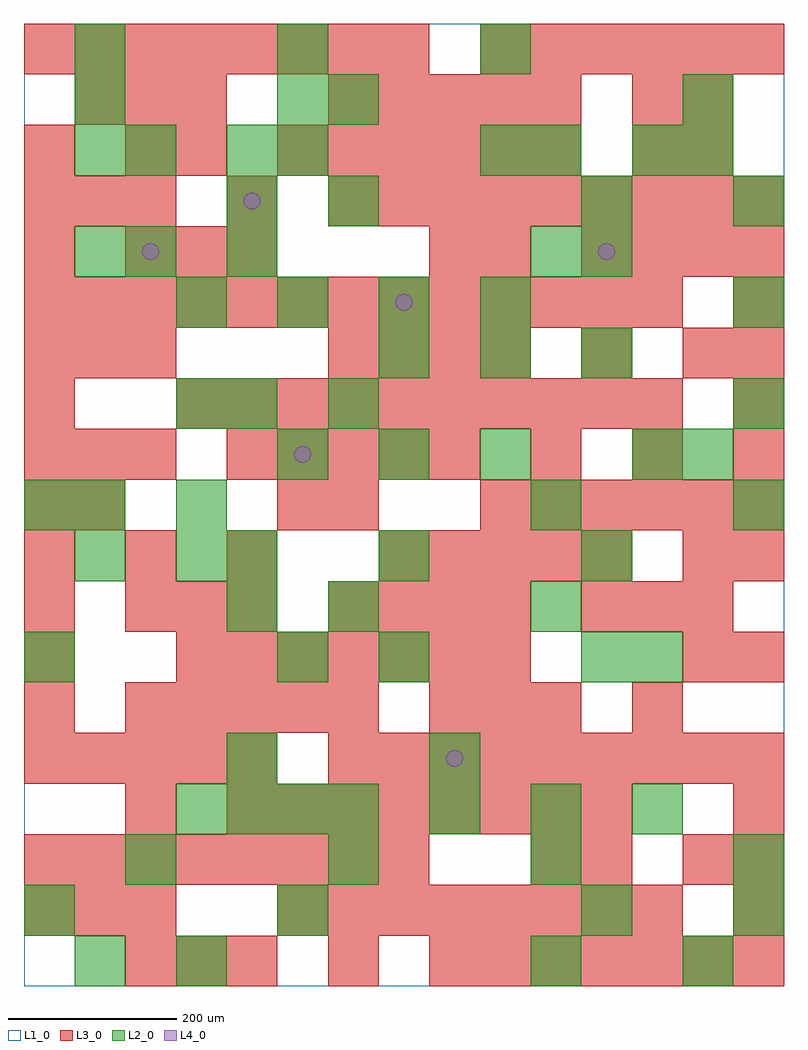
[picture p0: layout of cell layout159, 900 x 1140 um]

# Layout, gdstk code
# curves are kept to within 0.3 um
import gdstk
lib = gdstk.Library(unit=1e-6, precision=1e-09)
def R(c, l, rs):  # rectangles x0, y0, x1, y1
    for r in rs: c.add(gdstk.rectangle(r[:2], r[2:], *l))
def A(c, l, x, y, w, h, nx, ny, dx, dy):  # array of equal rectangles
    R(c, l, [(x+i*dx, y+j*dy, x+i*dx+w, y+j*dy+h) for i in range(nx) for j in range(ny)])
def P(c, l, *ps):  # polygons
    for p in ps: c.add(gdstk.Polygon(p, *l))
L1_0 = (1, 0)
L2_0 = (2, 0)
L3_0 = (3, 0)
L4_0 = (4, 0)

layout159 = lib.new_cell('layout159')
R(layout159, L1_0, [(0,0,900,1140)])
A(layout159, L2_0, 120, 120, 60, 60, 4, 1, 240, 0)
A(layout159, L2_0, 180, 180, 60, 60, 4, 1, 60, 0)
A(layout159, L2_0, 480, 180, 60, 60, 3, 1, 120, 0)
A(layout159, L2_0, 360, 420, 60, 60, 1, 3, 0, 240)
A(layout159, L2_0, 240, 480, 60, 60, 1, 3, 0, 180)
A(layout159, L2_0, 840, 540, 60, 60, 1, 4, 0, 120)
A(layout159, L2_0, 300, 600, 60, 60, 3, 1, 120, 0)
A(layout159, L2_0, 420, 720, 60, 60, 3, 1, 120, 0)
A(layout159, L2_0, 180, 780, 60, 60, 4, 1, 120, 0)
A(layout159, L2_0, 60, 1080, 60, 60, 3, 1, 240, 0)
R(layout159, L2_0, [(60,0,120,60), (180,0,240,60), (600,0,660,60), (780,0,840,60), (0,60,60,120), (300,60,360,120), (660,60,720,120), (840,60,900,120), (240,240,300,300), (480,240,540,300), (0,360,60,420), (300,360,360,420), (420,360,480,420), (660,360,720,420), (720,360,780,420), (240,420,300,480), (600,420,660,480), (60,480,120,540), (180,480,240,540), (420,480,480,540), (660,480,720,540), (0,540,60,600), (60,540,120,600), (180,540,240,600), (600,540,660,600), (720,600,780,660), (780,600,840,660), (180,660,240,720), (60,840,120,900), (120,840,180,900), (600,840,660,900), (660,840,720,900), (240,900,300,960), (660,900,720,960), (60,960,120,1020), (120,960,180,1020), (240,960,300,1020), (300,960,360,1020), (540,960,600,1020), (600,960,660,1020), (720,960,780,1020), (780,960,840,1020), (60,1020,120,1080), (300,1020,360,1080), (360,1020,420,1080), (780,1020,840,1080)])
A(layout159, L3_0, 120, 0, 60, 60, 3, 3, 60, 420)
A(layout159, L3_0, 480, 0, 60, 60, 7, 1, 60, 0)
A(layout159, L3_0, 0, 60, 60, 60, 3, 2, 60, 540)
A(layout159, L3_0, 300, 60, 60, 60, 8, 1, 60, 0)
A(layout159, L3_0, 840, 60, 60, 60, 1, 3, 0, 60)
A(layout159, L3_0, 0, 120, 60, 60, 8, 2, 60, 960)
A(layout159, L3_0, 240, 180, 60, 60, 8, 1, 60, 0)
A(layout159, L3_0, 0, 240, 60, 60, 5, 1, 60, 0)
A(layout159, L3_0, 360, 240, 60, 60, 9, 2, 60, 660)
A(layout159, L3_0, 0, 300, 60, 60, 1, 3, 0, 60)
A(layout159, L3_0, 120, 300, 60, 60, 5, 1, 60, 0)
A(layout159, L3_0, 480, 300, 60, 60, 3, 1, 60, 0)
A(layout159, L3_0, 180, 360, 60, 60, 7, 1, 60, 0)
A(layout159, L3_0, 360, 420, 60, 60, 4, 2, 60, 300)
A(layout159, L3_0, 660, 420, 60, 60, 3, 1, 60, 0)
A(layout159, L3_0, 0, 480, 60, 60, 3, 1, 120, 0)
A(layout159, L3_0, 420, 480, 60, 60, 5, 1, 60, 0)
A(layout159, L3_0, 780, 480, 60, 60, 1, 3, 0, 240)
A(layout159, L3_0, 540, 540, 60, 60, 6, 2, 60, 540)
A(layout159, L3_0, 240, 600, 60, 60, 5, 1, 60, 0)
A(layout159, L3_0, 600, 600, 60, 60, 3, 1, 120, 0)
A(layout159, L3_0, 180, 660, 60, 60, 10, 1, 60, 0)
A(layout159, L3_0, 840, 660, 60, 60, 1, 3, 0, 60)
A(layout159, L3_0, 0, 720, 60, 60, 3, 2, 60, 180)
A(layout159, L3_0, 0, 780, 60, 60, 13, 1, 60, 0)
A(layout159, L3_0, 660, 840, 60, 60, 4, 1, 60, 0)
A(layout159, L3_0, 300, 960, 60, 60, 6, 1, 60, 0)
A(layout159, L3_0, 60, 1020, 60, 60, 3, 1, 60, 0)
A(layout159, L3_0, 360, 1020, 60, 60, 5, 1, 60, 0)
R(layout159, L3_0, [(360,0,420,60), (600,120,660,180), (660,120,720,180), (780,120,840,180), (120,180,180,240), (720,300,780,360), (780,360,840,420), (840,360,900,420), (840,480,900,540), (0,540,60,600), (60,540,120,600), (300,540,360,600), (360,540,420,600), (0,660,60,720), (660,720,720,780), (0,840,60,900), (480,840,540,900), (540,840,600,900), (240,900,300,960), (0,960,60,1020), (120,960,180,1020), (180,960,240,1020), (720,960,780,1020), (720,1020,780,1080), (780,1020,840,1080)])
P(layout159, L4_0, [(160,870),(159.239,873.827),(157.071,877.071),(153.827,879.239),(150,880),(146.173,879.239),(142.929,877.071),(140.761,873.827),(140,870),(140.761,866.173),(142.929,862.929),(146.173,860.761),(150,860),(153.827,860.761),(157.071,862.929),(159.239,866.173)],
  [(280,930),(279.239,933.827),(277.071,937.071),(273.827,939.239),(270,940),(266.173,939.239),(262.929,937.071),(260.761,933.827),(260,930),(260.761,926.173),(262.929,922.929),(266.173,920.761),(270,920),(273.827,920.761),(277.071,922.929),(279.239,926.173)],
  [(340,630),(339.239,633.827),(337.071,637.071),(333.827,639.239),(330,640),(326.173,639.239),(322.929,637.071),(320.761,633.827),(320,630),(320.761,626.173),(322.929,622.929),(326.173,620.761),(330,620),(333.827,620.761),(337.071,622.929),(339.239,626.173)],
  [(460,810),(459.239,813.827),(457.071,817.071),(453.827,819.239),(450,820),(446.173,819.239),(442.929,817.071),(440.761,813.827),(440,810),(440.761,806.173),(442.929,802.929),(446.173,800.761),(450,800),(453.827,800.761),(457.071,802.929),(459.239,806.173)],
  [(520,270),(519.239,273.827),(517.071,277.071),(513.827,279.239),(510,280),(506.173,279.239),(502.929,277.071),(500.761,273.827),(500,270),(500.761,266.173),(502.929,262.929),(506.173,260.761),(510,260),(513.827,260.761),(517.071,262.929),(519.239,266.173)],
  [(700,870),(699.239,873.827),(697.071,877.071),(693.827,879.239),(690,880),(686.173,879.239),(682.929,877.071),(680.761,873.827),(680,870),(680.761,866.173),(682.929,862.929),(686.173,860.761),(690,860),(693.827,860.761),(697.071,862.929),(699.239,866.173)])

lib.write_gds('layout159.gds')
